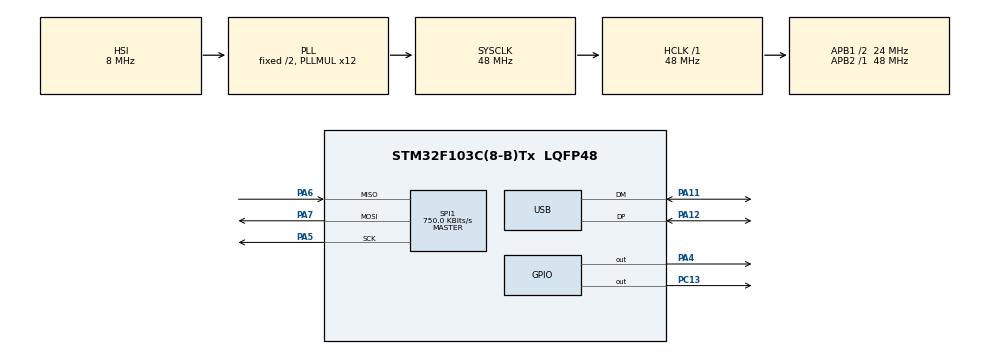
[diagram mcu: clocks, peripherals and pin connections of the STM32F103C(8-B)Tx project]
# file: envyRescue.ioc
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Mcu.Family=STM32F1
Mcu.Name=STM32F103C(8-B)Tx
Mcu.Package=LQFP48
NVIC.PriorityGroup=NVIC_PRIORITYGROUP_4
NVIC.USB_LP_CAN1_RX0_IRQn=true\:0\:0\:false\:false\:true\:false\:true
PA11.Mode=Device
PA11.Signal=USB_DM
PA12.Mode=Device
PA12.Signal=USB_DP
PA13.Mode=Serial_Wire
PA13.Signal=SYS_JTMS-SWDIO
PA14.Mode=Serial_Wire
PA14.Signal=SYS_JTCK-SWCLK
PA4.Signal=GPIO_Output
PA5.Mode=Full_Duplex_Master
PA5.Signal=SPI1_SCK
PA6.Mode=Full_Duplex_Master
PA6.Signal=SPI1_MISO
PA7.Mode=Full_Duplex_Master
PA7.Signal=SPI1_MOSI
PC13-TAMPER-RTC.Signal=GPIO_Output
ProjectManager.HeapSize=0x200
ProjectManager.StackSize=0x400
ProjectManager.TargetToolchain=STM32CubeIDE
RCC.AHBFreq_Value=48000000
RCC.APB1CLKDivider=RCC_HCLK_DIV2
RCC.APB1Freq_Value=24000000
RCC.APB1TimFreq_Value=48000000
RCC.APB2Freq_Value=48000000
RCC.APB2TimFreq_Value=48000000
RCC.HCLKFreq_Value=48000000
RCC.PLLMUL=RCC_PLL_MUL12
RCC.PLLSourceVirtualString=RCC_PLLSOURCE_HSI_DIV2
RCC.SYSCLKFreq_VALUE=48000000
RCC.SYSCLKSource=RCC_SYSCLKSOURCE_PLLCLK
RCC.USBFreq_Value=48000000
SPI1.BaudRatePrescaler=SPI_BAUDRATEPRESCALER_64
SPI1.CalculateBaudRate=750.0 KBits/s
SPI1.Direction=SPI_DIRECTION_2LINES
SPI1.Mode=SPI_MODE_MASTER
SPI1.VirtualType=VM_MASTER
USB_DEVICE.CLASS_NAME_FS=CDC
USB_DEVICE.VirtualMode=Cdc
USB_DEVICE.VirtualModeFS=Cdc_FS
VP_USB_DEVICE_VS_USB_DEVICE_CDC_FS.Mode=CDC_FS
board=custom

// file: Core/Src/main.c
/* USER CODE BEGIN Header */
/**
 ******************************************************************************
 * @file           : main.c
 * @brief          : Main program body
 ******************************************************************************
 * @attention
 *
 * <h2><center>&copy; Copyright (c) 2021 STMicroelectronics.
 * All rights reserved.</center></h2>
 *
 * This software component is licensed by ST under BSD 3-Clause license,
 * the "License"; You may not use this file except in compliance with the
 * License. You may obtain a copy of the License at:
 *                        opensource.org/licenses/BSD-3-Clause
 *
 ******************************************************************************
 */
/* USER CODE END Header */
#include "main.h"
#include "usb_device.h"

/* USER CODE BEGIN Includes */
#include <stdio.h>
#include "usbd_cdc_if.h"
/* USER CODE END Includes */

SPI_HandleTypeDef hspi1;

/* USER CODE BEGIN PV */

const uint8_t ID_READ[3] = {0x9F, 0x00, 0x00};
const uint8_t READ_STATUS = 0x05;
const uint8_t READ_DATA = 0x03;
const uint8_t WRITE_EN = 0x06;
const uint8_t WRITE_DIS = 0x04;
const uint8_t CHIP_ERASE = 0x60;
const uint8_t PAGE_PROG = 0x02;

/* USER CODE END PV */

void SystemClock_Config(void);
static void MX_GPIO_Init(void);
static void MX_SPI1_Init(void);

/* USER CODE BEGIN 0 */
char uart_buf[0x100] = {0x00};
uint16_t uart_len = 0;
uint8_t cdc_recv_flag = 0;

void cdc_recv()
{
	while (cdc_recv_flag != 1);
	cdc_recv_flag = 0;
}
/* USER CODE END 0 */

int main(void)
{
	/* USER CODE BEGIN 1 */
	char uart_sel = '0';
	int uart_buf_len;
	char spi_buf[0x100] = {0};
	uint8_t addr;
	uint8_t wip;
	uint8_t usb_res = 0;

	/* USER CODE END 1 */

	/* MCU Configuration--------------------------------------------------------*/

	/* Reset of all peripherals, Initializes the Flash interface and the Systick. */
	HAL_Init();

	/* Configure the system clock */
	SystemClock_Config();

	/* Initialize all configured peripherals */
	MX_GPIO_Init();
	MX_SPI1_Init();
	MX_USB_DEVICE_Init();
	/* USER CODE BEGIN 2 */

	// CS pin should default high
	HAL_GPIO_WritePin(GPIOA, GPIO_PIN_4, GPIO_PIN_SET);
	HAL_GPIO_WritePin(GPIOC, GPIO_PIN_13, GPIO_PIN_SET);

	/* USER CODE END 2 */

	/* Infinite loop */
	/* USER CODE BEGIN WHILE */
	while (1)
	{
		cdc_recv();
		uart_sel = uart_buf[0];

		HAL_GPIO_WritePin(GPIOC, GPIO_PIN_13, GPIO_PIN_RESET);

		switch(uart_sel) {
		case 'i': // Read RDID register
			HAL_GPIO_WritePin(GPIOA, GPIO_PIN_4, GPIO_PIN_RESET);
			HAL_SPI_Transmit(&hspi1, (uint8_t *)&ID_READ, 1, 100);
			HAL_SPI_Receive(&hspi1, (uint8_t *)spi_buf, 3, 100);
			HAL_GPIO_WritePin(GPIOA, GPIO_PIN_4, GPIO_PIN_SET);

			usb_res = CDC_Transmit_FS((uint8_t *)spi_buf, 3);
			//	      HAL_UART_Transmit(&huart1, (uint8_t *)uart_buf, uart_buf_len, 100);
			break;
		case 's': // Read STATUS register
			HAL_GPIO_WritePin(GPIOA, GPIO_PIN_4, GPIO_PIN_RESET);
			HAL_SPI_Transmit(&hspi1, (uint8_t *)&READ_STATUS, 1, 100);
			HAL_SPI_Receive(&hspi1, (uint8_t *)spi_buf, 1, 100);
			HAL_GPIO_WritePin(GPIOA, GPIO_PIN_4, GPIO_PIN_SET);

			uart_buf_len = sprintf(uart_buf, "%c", spi_buf[0]);
			usb_res = CDC_Transmit_FS((uint8_t *)uart_buf, uart_buf_len);
			//			  HAL_UART_Transmit(&huart1, (uint8_t *)uart_buf, uart_buf_len, 100);
			break;
		case 'd': // Dump all data
			HAL_GPIO_WritePin(GPIOA, GPIO_PIN_4, GPIO_PIN_RESET);
			uint8_t cmd[4] = {0x00};
			cmd[0] = READ_DATA;
			HAL_SPI_Transmit(&hspi1, (uint8_t *)&cmd, 4, 100);
			unsigned char next_in;

			//			HAL_UART_Receive(&huart1, &next_in, 1, 300);
			uart_buf_len = sprintf(uart_buf, "d");
			usb_res = CDC_Transmit_FS((uint8_t *)uart_buf, uart_buf_len);
			cdc_recv();
			next_in = uart_buf[0];

			if (next_in == 'n') {
				while(next_in == 'n')
				{
					next_in = 'z'; // Ensure that the next command actually arrives, instead of being left over.
					HAL_SPI_Receive(&hspi1, (uint8_t *)spi_buf, 0x1, 800);
					//		uart_buf_len = sprintf(uart_buf, "DATA: %d \t%x\r\n", i, spi_buf[i]);
					//					HAL_UART_Transmit(&huart1, (uint8_t *)spi_buf, 0x100, 800);
					//					HAL_UART_Receive(&huart1, &next_in, 1, 500);
					usb_res = CDC_Transmit_FS((uint8_t *)spi_buf, 0x1);
					cdc_recv();
					next_in = uart_buf[0];
				}
			}
			else if (next_in == 'a') {
				for (uint32_t i = 0; i < (0x800000/0x100); i++) {
					HAL_SPI_Receive(&hspi1, (uint8_t *)spi_buf, 0x100, 800);
					//					HAL_UART_Transmit(&huart1, (uint8_t *)spi_buf, 0x100, 800);
					usb_res = CDC_Transmit_FS((uint8_t *)spi_buf, 0x100);
				}
			}
			HAL_GPIO_WritePin(GPIOA, GPIO_PIN_4, GPIO_PIN_SET);
			break;
		case 'e': // Chip erase
			// Set the Write Enable latch
			HAL_GPIO_WritePin(GPIOA, GPIO_PIN_4, GPIO_PIN_RESET);
			HAL_SPI_Transmit(&hspi1, (uint8_t *)&WRITE_EN, 1, 100);
			HAL_GPIO_WritePin(GPIOA, GPIO_PIN_4, GPIO_PIN_SET);

			// Send the Chip Erase command
			HAL_GPIO_WritePin(GPIOA, GPIO_PIN_4, GPIO_PIN_RESET);
			HAL_SPI_Transmit(&hspi1, (uint8_t *)&CHIP_ERASE, 1, 100);
			HAL_GPIO_WritePin(GPIOA, GPIO_PIN_4, GPIO_PIN_SET);

			// Wait for the Write in Progress bit to be cleared
			do {
				HAL_Delay(10);
				HAL_GPIO_WritePin(GPIOA, GPIO_PIN_4, GPIO_PIN_RESET);
				HAL_SPI_Transmit(&hspi1, (uint8_t *)&READ_STATUS, 1, 100);
				HAL_SPI_Receive(&hspi1, (uint8_t *)spi_buf, 1, 100);
				HAL_GPIO_WritePin(GPIOA, GPIO_PIN_4, GPIO_PIN_SET);
			} while (spi_buf[0] != 0x40);

			uart_buf_len = sprintf(uart_buf, "e");
			usb_res = CDC_Transmit_FS((uint8_t *)uart_buf, uart_buf_len);
			break;
		case 'p': // Program chip

			// Ack that command was recv'ed
			uart_buf_len = sprintf(uart_buf, "p");
			usb_res = CDC_Transmit_FS((uint8_t *)uart_buf, uart_buf_len);

			uint8_t addr3 = 0;
			uint8_t addr2 = 0;
//			uint8_t addr1 = 0;
			const uint8_t addr1 = 0x00;
			uint8_t page[0x100] = {0x00};
			unsigned char next = '\0';

			// Recv if another page is coming
			cdc_recv();
			next = uart_buf[0];
			usb_res = CDC_Transmit_FS(&next, 1); // Ack

			do {
				// Recv Addr byte 3
				cdc_recv();
				addr3 = uart_buf[0];
				usb_res = CDC_Transmit_FS(&addr3, 1); // Ack

				// Recv Addr byte 2
				cdc_recv();
				addr2 = uart_buf[0];
				usb_res = CDC_Transmit_FS(&addr2, 1); // Ack

				// Recv Addr byte 1
//				cdc_recv();
//				addr1 = uart_buf[0];
//				usb_res = CDC_Transmit_FS(&addr1, 1); // Ack

				// Gather page of data from host
				for (uint16_t i = 0; i < 0x100; i++) {
					cdc_recv();
					page[i] = uart_buf[0];
					usb_res = CDC_Transmit_FS(&page[i], 1); // Ack
				}

				// Gather one byte from host
//				cdc_recv();
//				page[0] = uart_buf[0];
//				usb_res = CDC_Transmit_FS(page, 1); // Ack

				// Set the Write Enable latch
				HAL_GPIO_WritePin(GPIOA, GPIO_PIN_4, GPIO_PIN_RESET);
				HAL_SPI_Transmit(&hspi1, (uint8_t *)&WRITE_EN, 1, 100);
				HAL_GPIO_WritePin(GPIOA, GPIO_PIN_4, GPIO_PIN_SET);

				// Program chip
				HAL_GPIO_WritePin(GPIOA, GPIO_PIN_4, GPIO_PIN_RESET);
				HAL_SPI_Transmit(&hspi1, (uint8_t *)&PAGE_PROG, 1, 100);
				HAL_SPI_Transmit(&hspi1, (uint8_t *)&addr3, 1, 100);
				HAL_SPI_Transmit(&hspi1, (uint8_t *)&addr2, 1, 100);
				HAL_SPI_Transmit(&hspi1, (uint8_t *)&addr1, 1, 100);
				HAL_SPI_Transmit(&hspi1, (uint8_t *)page, 0x100, 500);
				HAL_GPIO_WritePin(GPIOA, GPIO_PIN_4, GPIO_PIN_SET);

				// Ack that page was sent
				uart_buf_len = sprintf(uart_buf, "s");
				usb_res = CDC_Transmit_FS((uint8_t *)uart_buf, uart_buf_len);

				// Wait for the Write in Progress bit to be cleared
				do {
					HAL_Delay(20);
					HAL_GPIO_WritePin(GPIOA, GPIO_PIN_4, GPIO_PIN_RESET);
					HAL_SPI_Transmit(&hspi1, (uint8_t *)&READ_STATUS, 1, 100);
					HAL_SPI_Receive(&hspi1, (uint8_t *)spi_buf, 1, 100);
					HAL_GPIO_WritePin(GPIOA, GPIO_PIN_4, GPIO_PIN_SET);
				} while (spi_buf[0] != 0x40);

				// Ack that command completed
				uart_buf_len = sprintf(uart_buf, "d");
				usb_res = CDC_Transmit_FS((uint8_t *)uart_buf, uart_buf_len);

				// Recv if another page is coming
				cdc_recv();
				next = uart_buf[0];
				usb_res = CDC_Transmit_FS(&next, 1); // Ack
			} while (next == 'n');

			break;
		default:
			//		  uart_buf_len = sprintf(uart_buf, "Bad input\n");
			//		  HAL_UART_Transmit(&huart1, (uint8_t *)uart_buf, uart_buf_len, 100);
			break;

		}

		HAL_GPIO_WritePin(GPIOC, GPIO_PIN_13, GPIO_PIN_SET);

		/* USER CODE END WHILE */

	}
}

void SystemClock_Config(void)
{
	RCC_OscInitTypeDef RCC_OscInitStruct = {0};
	RCC_ClkInitTypeDef RCC_ClkInitStruct = {0};
	RCC_PeriphCLKInitTypeDef PeriphClkInit = {0};

	/** Initializes the RCC Oscillators according to the specified parameters
	 * in the RCC_OscInitTypeDef structure.
	 */
	RCC_OscInitStruct.OscillatorType = RCC_OSCILLATORTYPE_HSI;
	RCC_OscInitStruct.HSIState = RCC_HSI_ON;
	RCC_OscInitStruct.HSICalibrationValue = RCC_HSICALIBRATION_DEFAULT;
	RCC_OscInitStruct.PLL.PLLState = RCC_PLL_ON;
	RCC_OscInitStruct.PLL.PLLSource = RCC_PLLSOURCE_HSI_DIV2;
	RCC_OscInitStruct.PLL.PLLMUL = RCC_PLL_MUL12;
	if (HAL_RCC_OscConfig(&RCC_OscInitStruct) != HAL_OK)
	{
		Error_Handler();
	}
	/** Initializes the CPU, AHB and APB buses clocks
	 */
	RCC_ClkInitStruct.ClockType = RCC_CLOCKTYPE_HCLK|RCC_CLOCKTYPE_SYSCLK
			|RCC_CLOCKTYPE_PCLK1|RCC_CLOCKTYPE_PCLK2;
	RCC_ClkInitStruct.SYSCLKSource = RCC_SYSCLKSOURCE_PLLCLK;
	RCC_ClkInitStruct.AHBCLKDivider = RCC_SYSCLK_DIV1;
	RCC_ClkInitStruct.APB1CLKDivider = RCC_HCLK_DIV2;
	RCC_ClkInitStruct.APB2CLKDivider = RCC_HCLK_DIV1;

	if (HAL_RCC_ClockConfig(&RCC_ClkInitStruct, FLASH_LATENCY_1) != HAL_OK)
	{
		Error_Handler();
	}
	PeriphClkInit.PeriphClockSelection = RCC_PERIPHCLK_USB;
	PeriphClkInit.UsbClockSelection = RCC_USBCLKSOURCE_PLL;
	if (HAL_RCCEx_PeriphCLKConfig(&PeriphClkInit) != HAL_OK)
	{
		Error_Handler();
	}
}

static void MX_SPI1_Init(void)
{

	/* SPI1 parameter configuration*/
	hspi1.Instance = SPI1;
	hspi1.Init.Mode = SPI_MODE_MASTER;
	hspi1.Init.Direction = SPI_DIRECTION_2LINES;
	hspi1.Init.DataSize = SPI_DATASIZE_8BIT;
	hspi1.Init.CLKPolarity = SPI_POLARITY_LOW;
	hspi1.Init.CLKPhase = SPI_PHASE_1EDGE;
	hspi1.Init.NSS = SPI_NSS_SOFT;
	hspi1.Init.BaudRatePrescaler = SPI_BAUDRATEPRESCALER_64;
	hspi1.Init.FirstBit = SPI_FIRSTBIT_MSB;
	hspi1.Init.TIMode = SPI_TIMODE_DISABLE;
	hspi1.Init.CRCCalculation = SPI_CRCCALCULATION_DISABLE;
	hspi1.Init.CRCPolynomial = 10;
	if (HAL_SPI_Init(&hspi1) != HAL_OK)
	{
		Error_Handler();
	}

}

static void MX_GPIO_Init(void)
{
	GPIO_InitTypeDef GPIO_InitStruct = {0};

	/* GPIO Ports Clock Enable */
	__HAL_RCC_GPIOC_CLK_ENABLE();
	__HAL_RCC_GPIOA_CLK_ENABLE();

	/*Configure GPIO pin Output Level */
	HAL_GPIO_WritePin(GPIOC, GPIO_PIN_13, GPIO_PIN_RESET);

	/*Configure GPIO pin Output Level */
	HAL_GPIO_WritePin(GPIOA, GPIO_PIN_4, GPIO_PIN_RESET);

	/*Configure GPIO pin : PC13 */
	GPIO_InitStruct.Pin = GPIO_PIN_13;
	GPIO_InitStruct.Mode = GPIO_MODE_OUTPUT_PP;
	GPIO_InitStruct.Pull = GPIO_NOPULL;
	GPIO_InitStruct.Speed = GPIO_SPEED_FREQ_LOW;
	HAL_GPIO_Init(GPIOC, &GPIO_InitStruct);

	/*Configure GPIO pin : PA4 */
	GPIO_InitStruct.Pin = GPIO_PIN_4;
	GPIO_InitStruct.Mode = GPIO_MODE_OUTPUT_PP;
	GPIO_InitStruct.Pull = GPIO_NOPULL;
	GPIO_InitStruct.Speed = GPIO_SPEED_FREQ_LOW;
	HAL_GPIO_Init(GPIOA, &GPIO_InitStruct);

}

void Error_Handler(void)
{
	__disable_irq();
	while (1)
	{
	}
}

/************************ (C) COPYRIGHT STMicroelectronics *****END OF FILE****/
